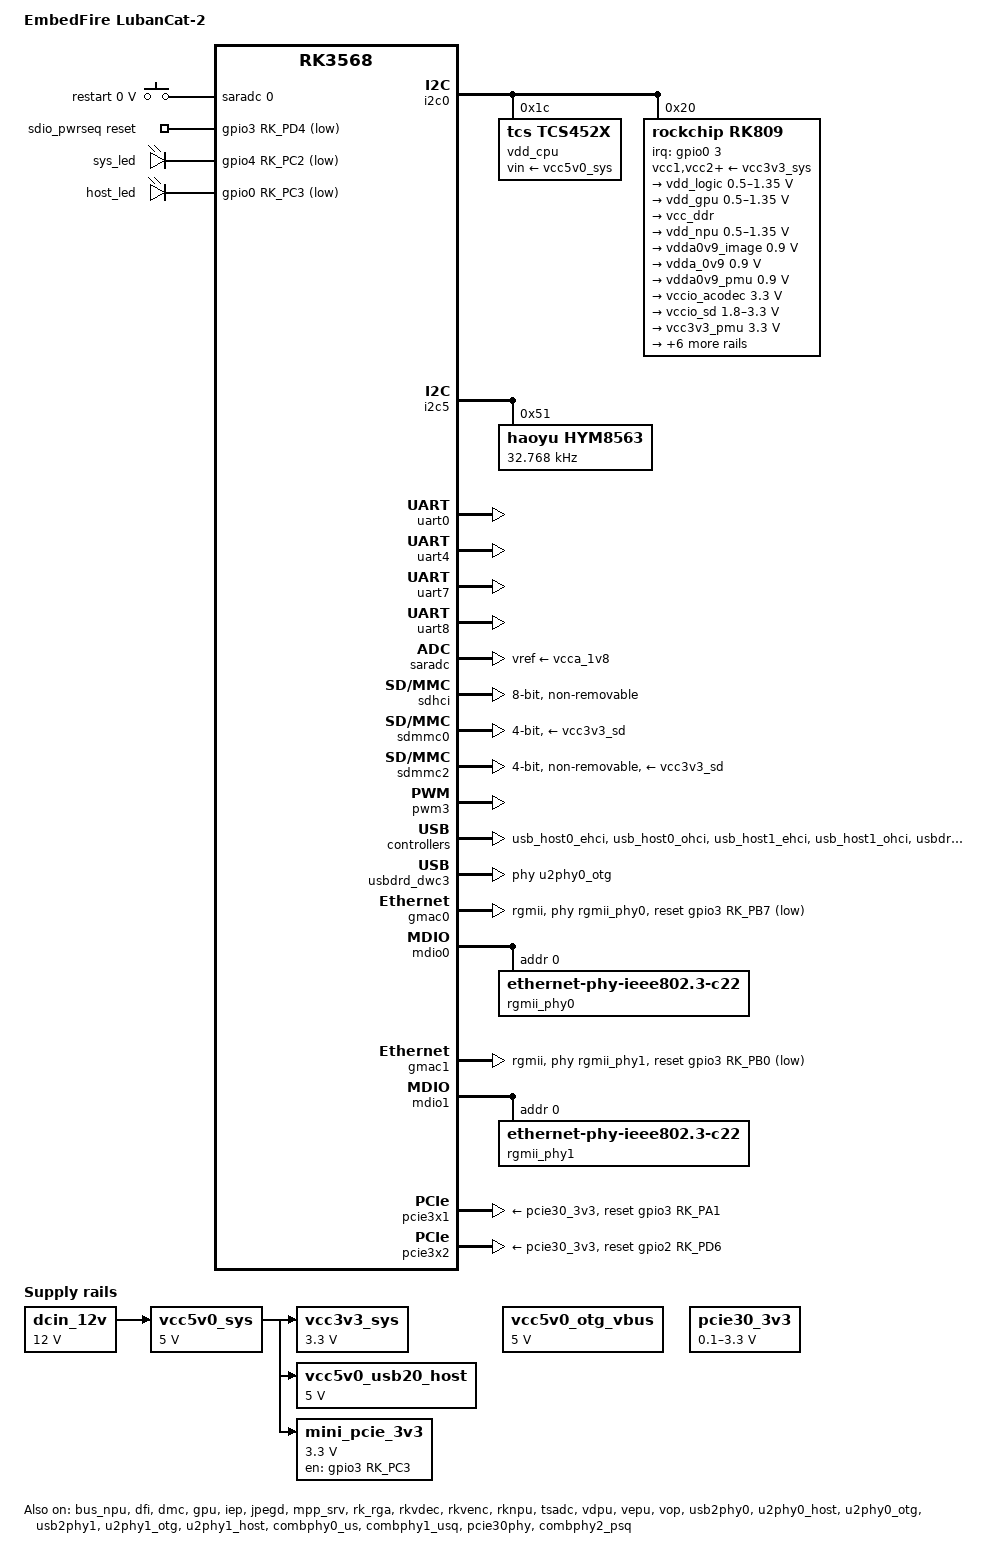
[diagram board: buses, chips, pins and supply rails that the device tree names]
// SPDX-License-Identifier: (GPL-2.0+ OR MIT)
 /dts-v1/;

#include <dt-bindings/gpio/gpio.h>
#include <dt-bindings/pwm/pwm.h>
#include <dt-bindings/pinctrl/rockchip.h>
//#include <dt-bindings/input/rk-input.h>
#include <dt-bindings/input/linux-event-codes.h>
#include <dt-bindings/display/drm_mipi_dsi.h>
#include <dt-bindings/display/rockchip_vop.h>
#include <dt-bindings/sensor-dev.h>
#include <dt-bindings/phy/jlsemi-dt-phy.h>
#include "rk3568.dtsi"
#include "rk3568-linux.dtsi"
// #include "rk3568-lubancat.dtsi"

/ {
	model = "EmbedFire LubanCat-2";
	compatible = "embedfire,lubancat-2", "rockchip,rk3568";

	reserved-memory {
		#address-cells = <2>;
		#size-cells = <2>;
		ranges;
		// ramoops: ramoops@110000 {
		// 	compatible = "ramoops";
		// 	reg = <0x0 0x110000 0x0 0xf0000>;
		// 	record-size = <0x20000>;
		// 	console-size = <0x80000>;
		// 	ftrace-size = <0x00000>;
		// 	pmsg-size = <0x50000>;
		// };

		abc: abc@80900000{
			reg = <0x0 0x80900000 0x0 0x100000>;
		};
	};


	adc_keys: adc-keys {
		compatible = "adc-keys";
		io-channels = <&saradc 0>;
		io-channel-names = "buttons";
		keyup-threshold-microvolt = <1800000>;
		poll-interval = <100>;

		restart-key {
			label = "restart";
			linux,code = <KEY_RESTART>;
			press-threshold-microvolt = <9>;
		};
	};

	dcin_12v: dcin-12v {
		compatible = "regulator-fixed";
		regulator-name = "dcin_12v";
		regulator-always-on;
		regulator-boot-on;
		regulator-min-microvolt = <12000000>;
		regulator-max-microvolt = <12000000>;
	};

	vcc5v0_sys: vcc5v0-sys {
		compatible = "regulator-fixed";
		regulator-name = "vcc5v0_sys";
		regulator-always-on;
		regulator-boot-on;
		regulator-min-microvolt = <5000000>;
		regulator-max-microvolt = <5000000>;
		vin-supply = <&dcin_12v>;
	};

	vcc3v3_sys: vcc3v3-sys {
		compatible = "regulator-fixed";
		regulator-name = "vcc3v3_sys";
		regulator-always-on;
		regulator-boot-on;
		regulator-min-microvolt = <3300000>;
		regulator-max-microvolt = <3300000>;
		vin-supply = <&vcc5v0_sys>;
	};

	vcc5v0_usb20_host: vcc5v0-usb20-host-regulator {
		compatible = "regulator-fixed";
		regulator-name = "vcc5v0_usb20_host";
		regulator-always-on;
		regulator-boot-on;
		regulator-min-microvolt = <5000000>;
		regulator-max-microvolt = <5000000>;
		vin-supply = <&vcc5v0_sys>;
	};

	vcc5v0_otg_vbus: vcc5v0-otg-vbus-regulator {
		compatible = "regulator-fixed";
		regulator-always-on;
		regulator-boot-on;
		regulator-min-microvolt = <5000000>;
		regulator-max-microvolt = <5000000>;
		regulator-name = "vcc5v0_otg_vbus";
	};

	mini_pcie_3v3: mini-pcie-3v3-regulator {
		compatible = "regulator-fixed";
		regulator-name = "minipcie_3v3";
		regulator-min-microvolt = <3300000>;
		regulator-max-microvolt = <3300000>;
		enable-active-high;
		regulator-always-on;
		gpio = <&gpio3 RK_PC3 GPIO_ACTIVE_HIGH>;
		startup-delay-us = <5000>;
		vin-supply = <&vcc5v0_sys>;
	};

	pcie30_3v3: gpio-regulator {
		compatible = "regulator-gpio";
		regulator-name = "pcie30_3v3";
		regulator-min-microvolt = <100000>;
		regulator-max-microvolt = <3300000>;
		gpios = <&gpio0 RK_PD4 GPIO_ACTIVE_HIGH>;
		gpios-states = <0x1>;
		states = <100000 0x0
			  3300000 0x1>;
	};

	sdio_pwrseq:sdio-pwrseq {
		compatible = "mmc-pwrseq-simple";
		clocks = <&rk809 1>;
		clock-names = "ext_clock";
		pinctrl-names = "default";
		pinctrl-0 = <&wifi_enable_h>;
		post-power-on-delay-ms = <100>;
		reset-gpios = <&gpio3 RK_PD4 GPIO_ACTIVE_LOW>;
	};

	wireless_wlan:wireless-wlan {
		compatible = "wlan-platdata";
		rockchip,grf = <&grf>;
		wifi_chip_type = "rtl8723ds";
		status = "okay";
		// pinctrl-names = "default";
		// WIFI,host_wake_irq = <&gpio3 RK_PD4 GPIO_ACTIVE_HIGH>;
		// pinctrl-0 = <&wifi_host_wake_irq>;
	};

	leds: leds {
		status = "okay";
		compatible = "gpio-leds";

		sys_led: sys-led {
			label = "sys_led";
			linux,default-trigger = "heartbeat";
			default-state = "on";
			gpios = <&gpio4 RK_PC2 GPIO_ACTIVE_LOW>;
			pinctrl-names = "default";
			pinctrl-0 = <&sys_led_pin>;
		};

		host_led: host-led {
			label = "host_led";
			linux,default-trigger = "heartbeat";
			default-state = "on";
			gpios = <&gpio0 RK_PC3 GPIO_ACTIVE_LOW>;
			pinctrl-names = "default";
			pinctrl-0 = <&host_led_pin>;
		};
	};


	test-power {
		status = "okay";
	};


};

&bus_npu {
	bus-supply = <&vdd_logic>;
	pvtm-supply = <&vdd_cpu>;
	status = "okay";
};

&cpu0 {
	cpu-supply = <&vdd_cpu>;
};

&dfi {
	status = "okay";
};

&dmc {
	center-supply = <&vdd_logic>;
	status = "okay";
};

&gpu {
	mali-supply = <&vdd_gpu>;
	status = "okay";
};

&i2c0 {
	status = "okay";

	vdd_cpu: tcs4525@1c {
		compatible = "tcs,tcs452x";
		reg = <0x1c>;
		vin-supply = <&vcc5v0_sys>;
		regulator-compatible = "fan53555-reg";
		regulator-name = "vdd_cpu";
		regulator-min-microvolt = <712500>;
		regulator-max-microvolt = <1390000>;
		regulator-ramp-delay = <2300>;
		fcs,suspend-voltage-selector = <1>;
		regulator-boot-on;
		regulator-always-on;
		regulator-state-mem {
			regulator-off-in-suspend;
		};
	};

	rk809: pmic@20 {
		compatible = "rockchip,rk809";
		reg = <0x20>;
		interrupt-parent = <&gpio0>;
		interrupts = <3 IRQ_TYPE_LEVEL_LOW>;

		pinctrl-names = "default", "pmic-sleep",
						"pmic-power-off", "pmic-reset";
		pinctrl-0 = <&pmic_int>;
		pinctrl-1 = <&soc_slppin_slp>, <&rk817_slppin_slp>;
		pinctrl-2 = <&soc_slppin_gpio>, <&rk817_slppin_pwrdn>;
		pinctrl-3 = <&soc_slppin_gpio>, <&rk817_slppin_rst>;

		rockchip,system-power-controller;
		wakeup-source;
		#clock-cells = <1>;
		clock-output-names = "rk808-clkout1", "rk808-clkout2";
		//fb-inner-reg-idxs = <2>;
		/* 1: rst regs (default in codes), 0: rst the pmic */
		pmic-reset-func = <0>;
		/* not save the PMIC_POWER_EN register in uboot */
		not-save-power-en = <1>;

		vcc1-supply = <&vcc3v3_sys>;
		vcc2-supply = <&vcc3v3_sys>;
		vcc3-supply = <&vcc3v3_sys>;
		vcc4-supply = <&vcc3v3_sys>;
		vcc5-supply = <&vcc3v3_sys>;
		vcc6-supply = <&vcc3v3_sys>;
		vcc7-supply = <&vcc3v3_sys>;
		vcc8-supply = <&vcc3v3_sys>;
		vcc9-supply = <&vcc3v3_sys>;

		pwrkey {
			status = "okay";
		};

		pinctrl_rk8xx: pinctrl_rk8xx {
			gpio-controller;
			#gpio-cells = <2>;

			rk817_slppin_null: rk817_slppin_null {
				pins = "gpio_slp";
				function = "pin_fun0";
			};

			rk817_slppin_slp: rk817_slppin_slp {
				pins = "gpio_slp";
				function = "pin_fun1";
			};

			rk817_slppin_pwrdn: rk817_slppin_pwrdn {
				pins = "gpio_slp";
				function = "pin_fun2";
			};

			rk817_slppin_rst: rk817_slppin_rst {
				pins = "gpio_slp";
				function = "pin_fun3";
			};
		};

		regulators {
			vdd_logic: DCDC_REG1 {
				regulator-always-on;
				regulator-boot-on;
				regulator-min-microvolt = <500000>;
				regulator-max-microvolt = <1350000>;
				regulator-init-microvolt = <900000>;
				regulator-ramp-delay = <6001>;
				regulator-initial-mode = <0x2>;
				regulator-name = "vdd_logic";
				regulator-state-mem {
					regulator-off-in-suspend;
				};
			};

			vdd_gpu: DCDC_REG2 {
				regulator-always-on;
				regulator-boot-on;
				regulator-min-microvolt = <500000>;
				regulator-max-microvolt = <1350000>;
				regulator-init-microvolt = <900000>;
				regulator-ramp-delay = <6001>;
				regulator-initial-mode = <0x2>;
				regulator-name = "vdd_gpu";
				regulator-state-mem {
					regulator-off-in-suspend;
				};
			};

			vcc_ddr: DCDC_REG3 {
				regulator-always-on;
				regulator-boot-on;
				regulator-initial-mode = <0x2>;
				regulator-name = "vcc_ddr";
				regulator-state-mem {
					regulator-on-in-suspend;
				};
			};

			vdd_npu: DCDC_REG4 {
				regulator-always-on;
				regulator-boot-on;
				regulator-min-microvolt = <500000>;
				regulator-max-microvolt = <1350000>;
				regulator-init-microvolt = <900000>;
				regulator-ramp-delay = <6001>;
				regulator-initial-mode = <0x2>;
				regulator-name = "vdd_npu";
				regulator-state-mem {
					regulator-off-in-suspend;
				};
			};

			vdda0v9_image: LDO_REG1 {
				regulator-boot-on;
				regulator-always-on;
				regulator-min-microvolt = <900000>;
				regulator-max-microvolt = <900000>;
				regulator-name = "vdda0v9_image";
				regulator-state-mem {
					regulator-off-in-suspend;
				};
			};

			vdda_0v9: LDO_REG2 {
				regulator-always-on;
				regulator-boot-on;
				regulator-min-microvolt = <900000>;
				regulator-max-microvolt = <900000>;
				regulator-name = "vdda_0v9";
				regulator-state-mem {
					regulator-off-in-suspend;
				};
			};

			vdda0v9_pmu: LDO_REG3 {
				regulator-always-on;
				regulator-boot-on;
				regulator-min-microvolt = <900000>;
				regulator-max-microvolt = <900000>;
				regulator-name = "vdda0v9_pmu";
				regulator-state-mem {
					regulator-on-in-suspend;
					regulator-suspend-microvolt = <900000>;
				};
			};

			vccio_acodec: LDO_REG4 {
				regulator-always-on;
				regulator-boot-on;
				regulator-min-microvolt = <3300000>;
				regulator-max-microvolt = <3300000>;
				regulator-name = "vccio_acodec";
				regulator-state-mem {
					regulator-off-in-suspend;
				};
			};

			vccio_sd: LDO_REG5 {
				regulator-always-on;
				regulator-boot-on;
				regulator-min-microvolt = <1800000>;
				regulator-max-microvolt = <3300000>;
				regulator-name = "vccio_sd";
				regulator-state-mem {
					regulator-off-in-suspend;
				};
			};

			vcc3v3_pmu: LDO_REG6 {
				regulator-always-on;
				regulator-boot-on;
				regulator-min-microvolt = <3300000>;
				regulator-max-microvolt = <3300000>;
				regulator-name = "vcc3v3_pmu";
				regulator-state-mem {
					regulator-on-in-suspend;
					regulator-suspend-microvolt = <3300000>;
				};
			};

			vcca_1v8: LDO_REG7 {
				regulator-always-on;
				regulator-boot-on;
				regulator-min-microvolt = <1800000>;
				regulator-max-microvolt = <1800000>;
				regulator-name = "vcca_1v8";
				regulator-state-mem {
					regulator-off-in-suspend;
				};
			};

			vcca1v8_pmu: LDO_REG8 {
				regulator-always-on;
				regulator-boot-on;
				regulator-min-microvolt = <1800000>;
				regulator-max-microvolt = <1800000>;
				regulator-name = "vcca1v8_pmu";
				regulator-state-mem {
					regulator-on-in-suspend;
					regulator-suspend-microvolt = <1800000>;
				};
			};

			vcca1v8_image: LDO_REG9 {
				regulator-always-on;
				regulator-boot-on;
				regulator-min-microvolt = <1800000>;
				regulator-max-microvolt = <1800000>;
				regulator-name = "vcca1v8_image";
				regulator-state-mem {
					regulator-off-in-suspend;
				};
			};

			vcc_1v8: DCDC_REG5 {
				regulator-always-on;
				regulator-boot-on;
				regulator-min-microvolt = <1800000>;
				regulator-max-microvolt = <1800000>;
				regulator-name = "vcc_1v8";
				regulator-state-mem {
					regulator-off-in-suspend;
				};
			};

			vcc_3v3: SWITCH_REG1 {
				regulator-always-on;
				regulator-boot-on;
				regulator-name = "vcc_3v3";
				regulator-state-mem {
					regulator-off-in-suspend;
				};
			};

			vcc3v3_sd: SWITCH_REG2 {
				regulator-always-on;
				regulator-boot-on;
				regulator-name = "vcc3v3_sd";
				regulator-state-mem {
					regulator-off-in-suspend;
				};
			};
		};

		rk809_codec: codec {
			#sound-dai-cells = <0>;
			compatible = "rockchip,rk809-codec", "rockchip,rk817-codec";
			clocks = <&cru I2S1_MCLKOUT_TX>;
			clock-names = "mclk";
			assigned-clocks = <&cru I2S1_MCLKOUT_TX>, <&cru I2S1_MCLK_TX_IOE>;
			assigned-clock-rates = <12288000>;
			assigned-clock-parents = <&cru CLK_I2S1_8CH_TX>, <&cru I2S1_MCLKOUT_TX>;
			pinctrl-names = "default";
			pinctrl-0 = <&i2s1m0_mclk>;
			hp-volume = <20>;
			spk-volume = <3>;
			//mic-in-differential;
			status = "okay";
		};
	};
};

&i2c5 {
	status = "okay";
	pinctrl-names = "default";
	pinctrl-0 = <&i2c5m0_xfer>;

	hym8563: hym8563@51 {
		compatible = "haoyu,hym8563";
		status = "okay";
		reg = <0x51>;
		#clock-cells = <0>;
		clock-frequency = <32768>;
		clock-output-names = "xin32k";
	};
};

&uart0 {
	status = "okay";
	// pinctrl-names = "default";
	// pinctrl-0 = <&uart0m1_xfer>;
};

&uart4 {
	status = "okay";
	pinctrl-names = "default";
	pinctrl-0 = <&uart4m1_xfer>;
};

&uart7 {
	status = "okay";
	pinctrl-names = "default";
	pinctrl-0 = <&uart7m1_xfer>;
};

//流控蓝牙
&uart8 {
	status = "okay";
	pinctrl-names = "default";
	pinctrl-0 = <&uart8m0_xfer>;
};





&iep {
	status = "okay";
};

&iep_mmu {
	status = "okay";
};

&jpegd {
	status = "okay";
};

&jpegd_mmu {
	status = "okay";
};

&mpp_srv {
	status = "okay";
};

&rk_rga {
	status = "okay";
};

&rkvdec {
	status = "okay";
};

&rkvdec_mmu {
	status = "okay";
};

&rkvenc {
	venc-supply = <&vdd_logic>;
	status = "okay";
};

&rkvenc_mmu {
	status = "okay";
};

&rknpu {
	rknpu-supply = <&vdd_npu>;
	status = "okay";
};

&rknpu_mmu {
	status = "okay";
};

&rockchip_suspend {
	compatible = "rockchip,pm-rk3568";
	rockchip,sleep-debug-en = <1>;
	rockchip,sleep-mode-config = <
		(0
		| RKPM_SLP_ARMOFF_LOGOFF
		| RKPM_SLP_CENTER_OFF
		| RKPM_SLP_HW_PLLS_OFF
//		| RKPM_SLP_PMUALIVE_32K
		| RKPM_SLP_OSC_DIS
		| RKPM_SLP_PMIC_LP
		| RKPM_SLP_32K_PVTM
		)
	>;
	rockchip,wakeup-config = <
		(0
		| RKPM_GPIO_WKUP_EN
		| RKPM_PWM0_WKUP_EN
		)
	>;
};

&saradc {
	vref-supply = <&vcca_1v8>;
	status = "okay";
};

&sdhci {
	bus-width = <8>;
	supports-emmc;
	non-removable;
	max-frequency = <200000000>;
	mmc-hs200-1_8v;
	status = "okay";
};

&sdmmc0 {
	max-frequency = <150000000>;
	supports-sd;
	bus-width = <4>;
	cap-mmc-highspeed;
	cap-sd-highspeed;
	disable-wp;
	sd-uhs-sdr104;
	vmmc-supply = <&vcc3v3_sd>;
	vqmmc-supply = <&vccio_sd>;
	pinctrl-names = "default";
	pinctrl-0 = <&sdmmc0_bus4 &sdmmc0_clk &sdmmc0_cmd &sdmmc0_det>;
	status = "okay";
};

&sdmmc2{
	max-frequency = <150000000>;
	supports-sdio;
	bus-width = <4>;
	cap-mmc-highspeed;
	cap-sd-highspeed;
	disable-wp;
	sd-uhs-sdr104;
	cap-sdio-irq;
	keep-power-in-suspend;
	non-removable; 
	//logic-remove-card;
	mmc-pwrseq = <&sdio_pwrseq>;
	vmmc-supply = <&vcc3v3_sd>;
	vqmmc-supply = <&vccio_sd>;
	pinctrl-names = "default";
	pinctrl-0 = <&sdmmc2m0_bus4 &sdmmc2m0_clk &sdmmc2m0_cmd>;
	status = "okay";
};



&tsadc {
	status = "okay";
};

&vdpu {
	status = "okay";
};

&vdpu_mmu {
	status = "okay";
};

&vepu {
	status = "okay";
};

&vepu_mmu {
	status = "okay";
};



&pwm3 {
	status = "okay";
};

// &pwm4 {
// 	status = "okay";
// };



&xin32k {
	status = "disabled";
};

&pmu_io_domains {
	status = "okay";
	pmuio2-supply = <&vcc3v3_pmu>;
	vccio1-supply = <&vccio_acodec>;
	vccio3-supply = <&vccio_sd>;
	vccio4-supply = <&vcc_1v8>;
	vccio5-supply = <&vcc_3v3>;
	vccio6-supply = <&vcc_1v8>;
	vccio7-supply = <&vcc_3v3>;
};

&vop {
	status = "okay";
	assigned-clocks = <&cru DCLK_VOP0>, <&cru DCLK_VOP1>;
	assigned-clock-parents = <&pmucru PLL_HPLL>, <&cru PLL_VPLL>;
};

&vop_mmu {
	status = "okay";
};

&vp0 {
	rockchip,plane-mask = <(1 << ROCKCHIP_VOP2_CLUSTER0 | 1 << ROCKCHIP_VOP2_ESMART0 | 1 << ROCKCHIP_VOP2_SMART0)>;
	rockchip,primary-plane = <ROCKCHIP_VOP2_SMART0>;
	// cursor-win-id = <ROCKCHIP_VOP2_CLUSTER0>;
};

&vp1 {
	rockchip,plane-mask = <(1 << ROCKCHIP_VOP2_CLUSTER1 | 1 << ROCKCHIP_VOP2_ESMART1 | 1 << ROCKCHIP_VOP2_SMART1)>;
	rockchip,primary-plane = <ROCKCHIP_VOP2_SMART1>;
	// cursor-win-id = <ROCKCHIP_VOP2_CLUSTER1>;
};

/* USB OTG/USB Host_1 USB 2.0 Comb */
&usb2phy0 {
	status = "okay";
};

&u2phy0_host {
	phy-supply = <&vcc5v0_usb20_host>;
	status = "okay";
};

&u2phy0_otg {
	vbus-supply = <&vcc5v0_otg_vbus>;
	status = "okay";
};

&usb_host0_ehci {
	status = "okay";
};

&usb_host0_ohci {
	status = "okay";
};

/* USB Host_2/USB Host_3 USB 2.0 Comb */
&usb2phy1 {
	status = "okay";
};

&u2phy1_otg {
	phy-supply = <&vcc5v0_usb20_host>;
	status = "okay";
};

&u2phy1_host {
	status = "okay";
};

&usb_host1_ehci {
	status = "okay";
};

&usb_host1_ohci {
	status = "okay";
};

/* MULTI_PHY0 For SATA0, USB3.0 OTG Only USB2.0 */
&combphy0_us {
	status = "okay";
};

&usbdrd30 {
	status = "okay";
};

&usbdrd_dwc3 {
	phys = <&u2phy0_otg>;
	phy-names = "usb2-phy";
	extcon = <&usb2phy0>;
	maximum-speed = "high-speed";
	snps,dis_u2_susphy_quirk;
	snps,usb2-lpm-disable;
	status = "okay";
};

// &sata0 {
// 	status = "okay";
// };

/* USB3.0 Host */
&combphy1_usq {
	status = "okay";
};

&usbhost30 {
	status = "okay";
};

&usbhost_dwc3 {
	status = "okay";
};

&gmac0 {
	phy-mode = "rgmii";
	clock_in_out = "output";

	snps,reset-gpio = <&gpio3 RK_PB7 GPIO_ACTIVE_LOW>;
	snps,reset-active-low;
	/* Reset time is 75ms, 100ms */
	snps,reset-delays-us = <0 75000 100000>;

	assigned-clocks = <&cru SCLK_GMAC0_RX_TX>, <&cru SCLK_GMAC0>;
	assigned-clock-parents = <&cru SCLK_GMAC0_RGMII_SPEED>, <&cru CLK_MAC0_2TOP>;
	assigned-clock-rates = <0>, <125000000>;

	pinctrl-names = "default";
	pinctrl-0 = <&gmac0_miim
			 &gmac0_tx_bus2
			 &gmac0_rx_bus2
			 &gmac0_rgmii_clk
			 &gmac0_rgmii_bus>;

	tx_delay = <0x22>;
	rx_delay = <0x0e>;

	phy-handle = <&rgmii_phy0>;
	status = "okay";
};

&mdio0 {
	rgmii_phy0: phy@0 {
		compatible = "ethernet-phy-ieee802.3-c22";
		reg = <0x0>;
		jl2xxx,led-enable = <(JL2XXX_LED_STATIC_OP_EN | JL1XXX_LED_MODE_EN)>;
		jl2xxx,led-mode = <(JL2XXX_LED1_LINK10  | \
				 JL2XXX_LED1_LINK100  | \
				 JL2XXX_LED1_LINK1000 | \
				 JL2XXX_LED2_LINK10   | \
				 JL2XXX_LED2_LINK100  | \
				 JL2XXX_LED2_LINK1000 | \
				 JL2XXX_LED2_ACTIVITY )>;
	};
};

&gmac1 {
	phy-mode = "rgmii";
	clock_in_out = "output";

	snps,reset-gpio = <&gpio3 RK_PB0 GPIO_ACTIVE_LOW>;
	snps,reset-active-low;
	/* Reset time is 75ms, 100ms */
	snps,reset-delays-us = <0 75000 100000>;

	assigned-clocks = <&cru SCLK_GMAC1_RX_TX>, <&cru SCLK_GMAC1>;
	assigned-clock-parents = <&cru SCLK_GMAC1_RGMII_SPEED>, <&cru CLK_MAC1_2TOP>;
	assigned-clock-rates = <0>, <125000000>;

	pinctrl-names = "default";
	pinctrl-0 = <&gmac1m1_miim
			 &gmac1m1_tx_bus2
			 &gmac1m1_rx_bus2
			 &gmac1m1_rgmii_clk
			 &gmac1m1_rgmii_bus>;

	/* RTL8211F */
	// tx_delay = <0x1c>;
	// rx_delay = <0x0c>;

	/* JL2101 */
	tx_delay = <0x22>;
	rx_delay = <0x07>;

	phy-handle = <&rgmii_phy1>;
	status = "okay";
};

&mdio1 {
	rgmii_phy1: phy@0 {
		compatible = "ethernet-phy-ieee802.3-c22";
		reg = <0x0>;
		jl2xxx,led-enable = <(JL2XXX_LED_STATIC_OP_EN | JL1XXX_LED_MODE_EN)>;
		jl2xxx,led-mode = <(JL2XXX_LED1_LINK10  | \
				 JL2XXX_LED1_LINK100  | \
				 JL2XXX_LED1_LINK1000 | \
				 JL2XXX_LED2_LINK10   | \
				 JL2XXX_LED2_LINK100  | \
				 JL2XXX_LED2_LINK1000 | \
				 JL2XXX_LED2_ACTIVITY )>;
	};
};

&pcie30phy {
	status = "okay";
};


//左PCI网口
&pcie3x1 {
	rockchip,perst-inactive-ms = <500>; // 延长复位时间，确保网卡充分上电
	rockchip,bifurcation;
	reset-gpios = <&gpio3 RK_PA1 GPIO_ACTIVE_HIGH>;
	vpcie3v3-supply = <&pcie30_3v3>;
	status = "okay";
};

//右PCI网口
&pcie3x2 {
	rockchip,bifurcation;
	reset-gpios = <&gpio2 RK_PD6 GPIO_ACTIVE_HIGH>;
	vpcie3v3-supply = <&pcie30_3v3>;
	status = "okay";
};

&combphy2_psq {
	status = "okay";
};



&pinctrl {

	pmic {
		pmic_int: pmic_int {
			rockchip,pins =
				<0 RK_PA3 RK_FUNC_GPIO &pcfg_pull_up>;
		};

		soc_slppin_gpio: soc_slppin_gpio {
			rockchip,pins =
				<0 RK_PA2 RK_FUNC_GPIO &pcfg_output_low_pull_down>;
		};

		soc_slppin_slp: soc_slppin_slp {
			rockchip,pins =
				<0 RK_PA2 RK_FUNC_1 &pcfg_pull_up>;
		};

		soc_slppin_rst: soc_slppin_rst {
			rockchip,pins =
				<0 RK_PA2 RK_FUNC_2 &pcfg_pull_none>;
		};

		spk_ctl_gpio: spk_ctl_gpio {
			rockchip,pins =
				<3 RK_PC5 RK_FUNC_GPIO &pcfg_pull_up>;
		};
	};

	spi_pins {
		spi3_cs0: spi3-cs0 {
			rockchip,pins = <4 RK_PC6 RK_FUNC_GPIO &pcfg_pull_up_drv_level_1>;
		};

		spi3_cs1: spi3-cs1 {
			rockchip,pins = <4 RK_PC4 RK_FUNC_GPIO &pcfg_pull_up_drv_level_1>;
		};
	};

	leds {
		sys_led_pin: sys-led-pin {
			rockchip,pins = <4 RK_PC2 RK_FUNC_GPIO &pcfg_pull_none>;
		};
		host_led_pin:host-led-pin{
			rockchip,pins = <0 RK_PC3 RK_FUNC_GPIO &pcfg_pull_none>;
		};
	};
	// wireless-wlan {
	// 	wifi_host_wake_irq:wifi-host-wake-irq {
	// 		rockchip,pins = <3 RK_PD4 RK_FUNC_GPIO &pcfg_pull_down>;
	// 	};
	// };

	sdio-pwrseq {
		wifi_enable_h:wifi-enable-h {
			rockchip,pins = <3 RK_PD4 RK_FUNC_GPIO &pcfg_pull_none>;
		};
	};
};
